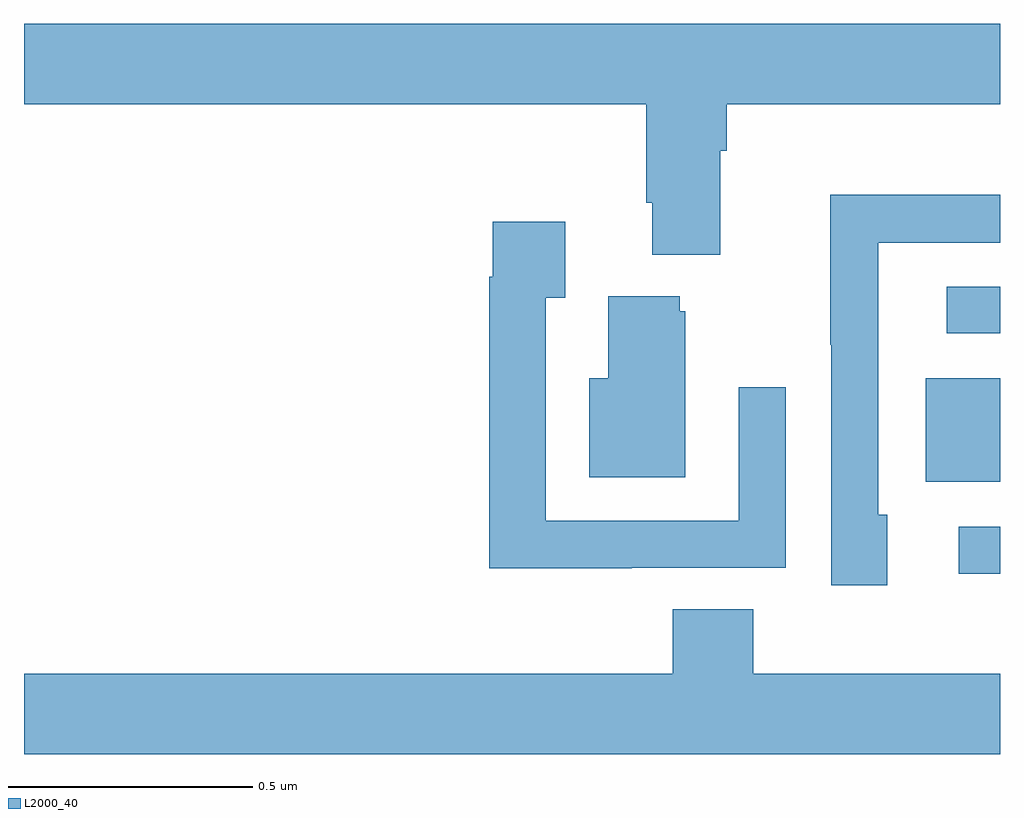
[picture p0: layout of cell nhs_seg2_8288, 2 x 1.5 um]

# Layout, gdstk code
import gdstk
lib = gdstk.Library(unit=1e-6, precision=1e-09)
def R(c, l, rs):  # rectangles x0, y0, x1, y1
    for r in rs: c.add(gdstk.rectangle(r[:2], r[2:], *l))
def P(c, l, *ps):  # polygons
    for p in ps: c.add(gdstk.Polygon(p, *l))
L2000_40 = (2000, 40)

nhs_seg2_8288 = lib.new_cell('nhs_seg2_8288')
R(nhs_seg2_8288, L2000_40, [(216.915,585.401,217,585.498), (216.848,585.59,217,585.802), (216.891,585.894,217,585.99)])
P(nhs_seg2_8288, L2000_40, [(216.427,586.268),(216.44,586.268),(216.44,586.364),(217,586.364),(217,586.528),(215,586.528),(215,586.364),(216.275,586.364),(216.275,586.162),(216.287,586.162),(216.287,586.055),(216.427,586.055)],
  [(216.769,585.522),(216.75,585.522),(216.75,585.832),(216.751,585.832),(216.751,586.08),(217,586.08),(217,586.178),(216.652,586.178),(216.652,585.871),(216.654,585.871),(216.654,585.378),(216.769,585.378)],
  [(216.245,585.414),(216.561,585.414),(216.561,585.784),(216.465,585.784),(216.465,585.51),(216.069,585.51),(216.069,585.967),(216.109,585.967),(216.109,586.123),(215.961,586.123),(215.961,586.01),(215.953,586.01),(215.953,585.413),(216.245,585.413)],
  [(216.355,585.939),(216.344,585.939),(216.344,585.97),(216.197,585.97),(216.197,585.802),(216.158,585.802),(216.158,585.599),(216.355,585.599)],
  [(217,585.196),(216.494,585.196),(216.494,585.329),(216.329,585.329),(216.329,585.196),(215,585.196),(215,585.032),(217,585.032)])

lib.write_gds('nhs_seg2_8288.gds')
